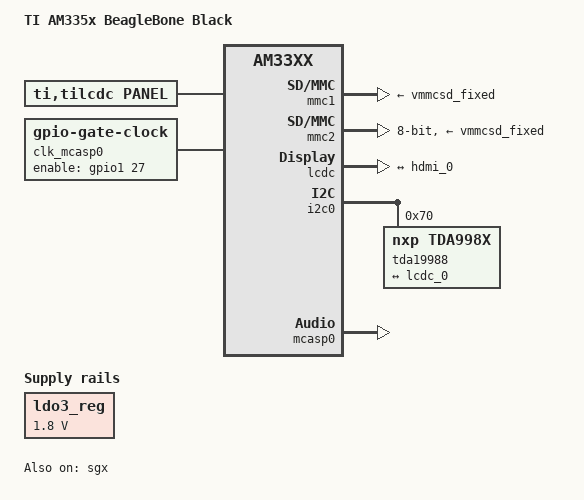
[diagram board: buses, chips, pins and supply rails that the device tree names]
/*
 * Copyright (C) 2012 Texas Instruments Incorporated - http://www.ti.com/
 *
 * This program is free software; you can redistribute it and/or modify
 * it under the terms of the GNU General Public License version 2 as
 * published by the Free Software Foundation.
 */
/dts-v1/;

#include "am33xx.dtsi"
#include "am335x-bone-common.dtsi"
#include <dt-bindings/display/tda998x.h>

/ {
	model = "TI AM335x BeagleBone Black";
	compatible = "ti,am335x-bone-black", "ti,am335x-bone", "ti,am33xx";

	panel {
		compatible = "ti,tilcdc,panel";
		status = "okay";
		pinctrl-names = "default";
		pinctrl-0 = <&lcd_pins_s0>;
		panel-info {
			ac-bias           = <255>;
			ac-bias-intrpt    = <0>;
			dma-burst-sz      = <16>;
			bpp               = <32>;
			fdd               = <0x80>;
			sync-edge         = <0>;
			sync-ctrl         = <1>;
			raster-order      = <0>;
			fifo-th           = <0>;
		};

		display-timings {
			800x480p62 {
				clock-frequency = <30000000>;
				hactive = <800>;
				vactive = <480>;
				hfront-porch = <214>;
				hback-porch = <42>;
				hsync-len = <4>;
				vback-porch = <19>;
				vfront-porch = <23>;
				vsync-len = <4>;
				hsync-active = <0>;
				vsync-active = <0>;
			};
		};
	};

};

&ldo3_reg {
	regulator-min-microvolt = <1800000>;
	regulator-max-microvolt = <1800000>;
	regulator-always-on;
};

&mmc1 {
	vmmc-supply = <&vmmcsd_fixed>;
};

&mmc2 {
	vmmc-supply = <&vmmcsd_fixed>;
	pinctrl-names = "default";
	pinctrl-0 = <&emmc_pins>;
	bus-width = <8>;
	status = "okay";
};

&cpu0_opp_table {
	/*
	 * All PG 2.0 silicon may not support 1GHz but some of the early
	 * BeagleBone Blacks have PG 2.0 silicon which is guaranteed
	 * to support 1GHz OPP so enable it for PG 2.0 on this board.
	 */
	oppnitro@1000000000 {
		opp-supported-hw = <0x06 0x0100>;
	};
};

&am33xx_pinmux {
	nxp_hdmi_bonelt_pins: nxp_hdmi_bonelt_pins {
		pinctrl-single,pins = <
			0x1b0 0x03      /* xdma_event_intr0, OMAP_MUX_MODE3 | AM33XX_PIN_OUTPUT */
			0xa0 0x08       /* lcd_data0.lcd_data0, OMAP_MUX_MODE0 | AM33XX_PIN_OUTPUT | AM33XX_PULL_DISA */
			0xa4 0x08       /* lcd_data1.lcd_data1, OMAP_MUX_MODE0 | AM33XX_PIN_OUTPUT | AM33XX_PULL_DISA */
			0xa8 0x08       /* lcd_data2.lcd_data2, OMAP_MUX_MODE0 | AM33XX_PIN_OUTPUT | AM33XX_PULL_DISA */
			0xac 0x08       /* lcd_data3.lcd_data3, OMAP_MUX_MODE0 | AM33XX_PIN_OUTPUT | AM33XX_PULL_DISA */
			0xb0 0x08       /* lcd_data4.lcd_data4, OMAP_MUX_MODE0 | AM33XX_PIN_OUTPUT | AM33XX_PULL_DISA */
			0xb4 0x08       /* lcd_data5.lcd_data5, OMAP_MUX_MODE0 | AM33XX_PIN_OUTPUT | AM33XX_PULL_DISA */
			0xb8 0x08       /* lcd_data6.lcd_data6, OMAP_MUX_MODE0 | AM33XX_PIN_OUTPUT | AM33XX_PULL_DISA */
			0xbc 0x08       /* lcd_data7.lcd_data7, OMAP_MUX_MODE0 | AM33XX_PIN_OUTPUT | AM33XX_PULL_DISA */
			0xc0 0x08       /* lcd_data8.lcd_data8, OMAP_MUX_MODE0 | AM33XX_PIN_OUTPUT | AM33XX_PULL_DISA */
			0xc4 0x08       /* lcd_data9.lcd_data9, OMAP_MUX_MODE0 | AM33XX_PIN_OUTPUT | AM33XX_PULL_DISA */
			0xc8 0x08       /* lcd_data10.lcd_data10, OMAP_MUX_MODE0 | AM33XX_PIN_OUTPUT | AM33XX_PULL_DISA */
			0xcc 0x08       /* lcd_data11.lcd_data11, OMAP_MUX_MODE0 | AM33XX_PIN_OUTPUT | AM33XX_PULL_DISA */
			0xd0 0x08       /* lcd_data12.lcd_data12, OMAP_MUX_MODE0 | AM33XX_PIN_OUTPUT | AM33XX_PULL_DISA */
			0xd4 0x08       /* lcd_data13.lcd_data13, OMAP_MUX_MODE0 | AM33XX_PIN_OUTPUT | AM33XX_PULL_DISA */
			0xd8 0x08       /* lcd_data14.lcd_data14, OMAP_MUX_MODE0 | AM33XX_PIN_OUTPUT | AM33XX_PULL_DISA */
			0xdc 0x08       /* lcd_data15.lcd_data15, OMAP_MUX_MODE0 | AM33XX_PIN_OUTPUT | AM33XX_PULL_DISA */
			0xe0 0x00       /* lcd_vsync.lcd_vsync, OMAP_MUX_MODE0 | AM33XX_PIN_OUTPUT */
			0xe4 0x00       /* lcd_hsync.lcd_hsync, OMAP_MUX_MODE0 | AM33XX_PIN_OUTPUT */
			0xe8 0x00       /* lcd_pclk.lcd_pclk, OMAP_MUX_MODE0 | AM33XX_PIN_OUTPUT */
			0xec 0x00       /* lcd_ac_bias_en.lcd_ac_bias_en, OMAP_MUX_MODE0 | AM33XX_PIN_OUTPUT */
		>;
	};
	nxp_hdmi_bonelt_off_pins: nxp_hdmi_bonelt_off_pins {
		pinctrl-single,pins = <
			0x1b0 0x03      /* xdma_event_intr0, OMAP_MUX_MODE3 | AM33XX_PIN_OUTPUT */
		>;
	};

	mcasp0_pins: mcasp0_pins {
		pinctrl-single,pins = <
			AM33XX_IOPAD(0x9ac, PIN_INPUT_PULLUP | MUX_MODE0) /* mcasp0_ahcklx.mcasp0_ahclkx */
			AM33XX_IOPAD(0x99c, PIN_OUTPUT_PULLDOWN | MUX_MODE2) /* mcasp0_ahclkr.mcasp0_axr2*/
			AM33XX_IOPAD(0x994, PIN_OUTPUT_PULLUP | MUX_MODE0) /* mcasp0_fsx.mcasp0_fsx */
			AM33XX_IOPAD(0x990, PIN_OUTPUT_PULLDOWN | MUX_MODE0) /* mcasp0_aclkx.mcasp0_aclkx */
			AM33XX_IOPAD(0x86c, PIN_OUTPUT_PULLDOWN | MUX_MODE7) /* gpmc_a11.GPIO1_27 */
		>;
	};

	lcd_pins_s0: lcd_pins_s0 {
		pinctrl-single,pins = <
			0x20 (PIN_OUTPUT | MUX_MODE1)		/* gpmc_ad8.lcd_data23 */
			0x24 (PIN_OUTPUT | MUX_MODE1)		/* gpmc_ad9.lcd_data22 */
			0x28 (PIN_OUTPUT | MUX_MODE1)		/* gpmc_ad10.lcd_data21 */
			0x2c (PIN_OUTPUT | MUX_MODE1)		/* gpmc_ad11.lcd_data20 */
			0x30 (PIN_OUTPUT | MUX_MODE1)		/* gpmc_ad12.lcd_data19 */
			0x34 (PIN_OUTPUT | MUX_MODE1)		/* gpmc_ad13.lcd_data18 */
			0x38 (PIN_OUTPUT | MUX_MODE1)		/* gpmc_ad14.lcd_data17 */
			0x3c (PIN_OUTPUT | MUX_MODE1)		/* gpmc_ad15.lcd_data16 */
			0xa0 (PIN_OUTPUT | MUX_MODE0)		/* lcd_data0.lcd_data0 */
			0xa4 (PIN_OUTPUT | MUX_MODE0)		/* lcd_data1.lcd_data1 */
			0xa8 (PIN_OUTPUT | MUX_MODE0)		/* lcd_data2.lcd_data2 */
			0xac (PIN_OUTPUT | MUX_MODE0)		/* lcd_data3.lcd_data3 */
			0xb0 (PIN_OUTPUT | MUX_MODE0)		/* lcd_data4.lcd_data4 */
			0xb4 (PIN_OUTPUT | MUX_MODE0)		/* lcd_data5.lcd_data5 */
			0xb8 (PIN_OUTPUT | MUX_MODE0)		/* lcd_data6.lcd_data6 */
			0xbc (PIN_OUTPUT | MUX_MODE0)		/* lcd_data7.lcd_data7 */
			0xc0 (PIN_OUTPUT | MUX_MODE0)		/* lcd_data8.lcd_data8 */
			0xc4 (PIN_OUTPUT | MUX_MODE0)		/* lcd_data9.lcd_data9 */
			0xc8 (PIN_OUTPUT | MUX_MODE0)		/* lcd_data10.lcd_data10 */
			0xcc (PIN_OUTPUT | MUX_MODE0)		/* lcd_data11.lcd_data11 */
			0xd0 (PIN_OUTPUT | MUX_MODE0)		/* lcd_data12.lcd_data12 */
			0xd4 (PIN_OUTPUT | MUX_MODE0)		/* lcd_data13.lcd_data13 */
			0xd8 (PIN_OUTPUT | MUX_MODE0)		/* lcd_data14.lcd_data14 */
			0xdc (PIN_OUTPUT | MUX_MODE0)		/* lcd_data15.lcd_data15 */
			0xe0 (PIN_OUTPUT | MUX_MODE0)		/* lcd_vsync.lcd_vsync */
			0xe4 (PIN_OUTPUT | MUX_MODE0)		/* lcd_hsync.lcd_hsync */
			0xe8 (PIN_OUTPUT | MUX_MODE0)		/* lcd_pclk.lcd_pclk */
			0xec (PIN_OUTPUT | MUX_MODE0)		/* lcd_ac_bias_en.lcd_ac_bias_en */
		>;
	};
};

&lcdc {
	status = "okay";
	port {
		lcdc_0: endpoint@0 {
			remote-endpoint = <&hdmi_0>;
		};
	};
};

&i2c0 {
	tda19988: tda19988 {
		compatible = "nxp,tda998x";
		reg = <0x70>;

		pinctrl-names = "default", "off";
		pinctrl-0 = <&nxp_hdmi_bonelt_pins>;
		pinctrl-1 = <&nxp_hdmi_bonelt_off_pins>;

		#sound-dai-cells = <0>;
		audio-ports = <	AFMT_I2S	0x03>;

		ports {
			port@0 {
				hdmi_0: endpoint@0 {
					remote-endpoint = <&lcdc_0>;
				};
			};
		};
	};
};

&rtc {
	system-power-controller;
};

&mcasp0	{
	#sound-dai-cells = <0>;
	pinctrl-names = "default";
	pinctrl-0 = <&mcasp0_pins>;
	status = "okay";
	op-mode = <0>;	/* MCASP_IIS_MODE */
	tdm-slots = <2>;
	serial-dir = <	/* 0: INACTIVE, 1: TX, 2: RX */
			0 0 1 0
		>;
	tx-num-evt = <32>;
	rx-num-evt = <32>;
};

&sgx {
	status = "okay";
};

/ {
	clk_mcasp0_fixed: clk_mcasp0_fixed {
		#clock-cells = <0>;
		compatible = "fixed-clock";
		clock-frequency = <24576000>;
	};

	clk_mcasp0: clk_mcasp0 {
		#clock-cells = <0>;
		compatible = "gpio-gate-clock";
		clocks = <&clk_mcasp0_fixed>;
		enable-gpios = <&gpio1 27 0>; /* BeagleBone Black Clk enable on GPIO1_27 */
	};

	sound {
		compatible = "simple-audio-card";
		simple-audio-card,name = "TI BeagleBone Black";
		simple-audio-card,format = "i2s";
		simple-audio-card,bitclock-master = <&dailink0_master>;
		simple-audio-card,frame-master = <&dailink0_master>;

		dailink0_master: simple-audio-card,cpu {
			sound-dai = <&mcasp0>;
			clocks = <&clk_mcasp0>;
		};

		simple-audio-card,codec {
			sound-dai = <&tda19988>;
		};
	};
};
